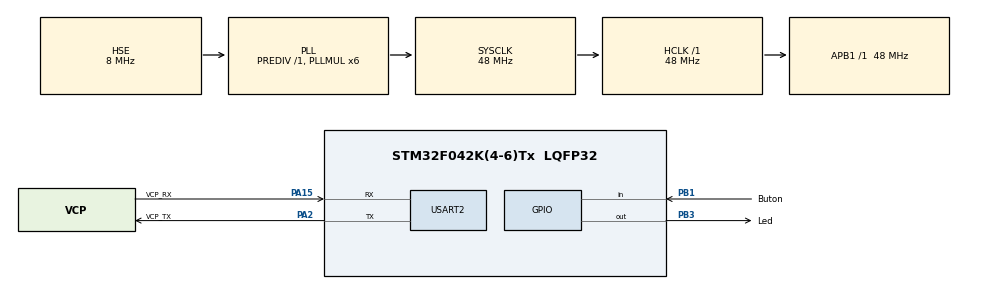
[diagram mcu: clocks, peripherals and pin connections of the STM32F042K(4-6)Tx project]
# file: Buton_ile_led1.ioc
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Mcu.Family=STM32F0
Mcu.Name=STM32F042K(4-6)Tx
Mcu.Package=LQFP32
PA13.GPIO_Label=SWDIO
PA13.Mode=Serial_Wire
PA13.Signal=SYS_SWDIO
PA14.GPIO_Label=SWCLK
PA14.Mode=Serial_Wire
PA14.Signal=SYS_SWCLK
PA15.GPIO_Label=VCP_RX
PA15.Mode=Asynchronous
PA15.Signal=USART2_RX
PA2.GPIO_Label=VCP_TX
PA2.Mode=Asynchronous
PA2.Signal=USART2_TX
PB1.GPIO_Label=Buton
PB1.GPIO_PuPd=GPIO_PULLDOWN
PB1.Signal=GPIO_Input
PB3.GPIO_Label=Led
PB3.Signal=GPIO_Output
PF0-OSC_IN.GPIO_Label=MCO
PF0-OSC_IN.Mode=HSE-External-Oscillator
PF0-OSC_IN.Signal=RCC_OSC_IN
PF1-OSC_OUT.Mode=HSE-External-Oscillator
PF1-OSC_OUT.Signal=RCC_OSC_OUT
ProjectManager.HeapSize=0x200
ProjectManager.StackSize=0x400
ProjectManager.TargetToolchain=STM32CubeIDE
RCC.AHBFreq_Value=48000000
RCC.APB1Freq_Value=48000000
RCC.APB1TimFreq_Value=48000000
RCC.HCLKFreq_Value=48000000
RCC.PLLMUL=RCC_PLL_MUL6
RCC.PLLSourceVirtual=RCC_PLLSOURCE_HSE
RCC.SYSCLKFreq_VALUE=48000000
RCC.SYSCLKSource=RCC_SYSCLKSOURCE_PLLCLK
USART2.VirtualMode-Asynchronous=VM_ASYNC
board=NUCLEO-F042K6

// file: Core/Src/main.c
/* USER CODE BEGIN Header */
/**
  ******************************************************************************
  * @file           : main.c
  * @brief          : Main program body
  ******************************************************************************
  * @attention
  *
  * Copyright (c) 2022 STMicroelectronics.
  * All rights reserved.
  *
  * This software is licensed under terms that can be found in the LICENSE file
  * in the root directory of this software component.
  * If no LICENSE file comes with this software, it is provided AS-IS.
  *
  ******************************************************************************
  */
/* USER CODE END Header */
#include "main.h"
#include <string.h>

 UART_HandleTypeDef huart2;

void SystemClock_Config(void);
static void MX_GPIO_Init(void);
static void MX_USART2_UART_Init(void);
/* USER CODE BEGIN PFP */
typedef enum{
	close,
	open
}state_t;

typedef struct{
	char buton_PortAdi[20];
	char buton_PinAdi[20];
	state_t buton_durumu;
	state_t led_durumu;
}buton;
buton buton1;
/* USER CODE END PFP */

int main(void)
{

  /* MCU Configuration--------------------------------------------------------*/

  /* Reset of all peripherals, Initializes the Flash interface and the Systick. */
  HAL_Init();

  /* Configure the system clock */
  SystemClock_Config();

  /* Initialize all configured peripherals */
  MX_GPIO_Init();
  MX_USART2_UART_Init();
  /* USER CODE BEGIN 2 */
  strcpy(buton1.buton_PinAdi,"GPIO_PIN_1");
  strcpy(buton1.buton_PortAdi,"GPIOB");
  /* USER CODE END 2 */

  /* Infinite loop */
  /* USER CODE BEGIN WHILE */
  while (1)
  {
	  if(HAL_GPIO_ReadPin(Led_GPIO_Port, Led_Pin))
	  {
		  buton1.led_durumu = open;
	  }
	  else
	  {
		  buton1.led_durumu = close;
	  }

	  if(HAL_GPIO_ReadPin(Buton_GPIO_Port, Buton_Pin))
	  {
		  buton1.buton_durumu = open;
	  }
	  else
	  {
		  buton1.buton_durumu = close;
	  }

	  if(HAL_GPIO_ReadPin(Buton_GPIO_Port, Buton_Pin))
	  {
		  HAL_Delay(15);
		  if(HAL_GPIO_ReadPin(Buton_GPIO_Port, Buton_Pin) == 0)
		  {
			  HAL_GPIO_TogglePin(Led_GPIO_Port, Led_Pin);
			  HAL_Delay(300);
		  }
	  }
    /* USER CODE END WHILE */

  }
}

void SystemClock_Config(void)
{
  RCC_OscInitTypeDef RCC_OscInitStruct = {0};
  RCC_ClkInitTypeDef RCC_ClkInitStruct = {0};

  /** Initializes the RCC Oscillators according to the specified parameters
  * in the RCC_OscInitTypeDef structure.
  */
  RCC_OscInitStruct.OscillatorType = RCC_OSCILLATORTYPE_HSE;
  RCC_OscInitStruct.HSEState = RCC_HSE_ON;
  RCC_OscInitStruct.PLL.PLLState = RCC_PLL_ON;
  RCC_OscInitStruct.PLL.PLLSource = RCC_PLLSOURCE_HSE;
  RCC_OscInitStruct.PLL.PLLMUL = RCC_PLL_MUL6;
  RCC_OscInitStruct.PLL.PREDIV = RCC_PREDIV_DIV1;
  if (HAL_RCC_OscConfig(&RCC_OscInitStruct) != HAL_OK)
  {
    Error_Handler();
  }

  /** Initializes the CPU, AHB and APB buses clocks
  */
  RCC_ClkInitStruct.ClockType = RCC_CLOCKTYPE_HCLK|RCC_CLOCKTYPE_SYSCLK
                              |RCC_CLOCKTYPE_PCLK1;
  RCC_ClkInitStruct.SYSCLKSource = RCC_SYSCLKSOURCE_PLLCLK;
  RCC_ClkInitStruct.AHBCLKDivider = RCC_SYSCLK_DIV1;
  RCC_ClkInitStruct.APB1CLKDivider = RCC_HCLK_DIV1;

  if (HAL_RCC_ClockConfig(&RCC_ClkInitStruct, FLASH_LATENCY_1) != HAL_OK)
  {
    Error_Handler();
  }
}

static void MX_USART2_UART_Init(void)
{

  huart2.Instance = USART2;
  huart2.Init.BaudRate = 38400;
  huart2.Init.WordLength = UART_WORDLENGTH_8B;
  huart2.Init.StopBits = UART_STOPBITS_1;
  huart2.Init.Parity = UART_PARITY_NONE;
  huart2.Init.Mode = UART_MODE_TX_RX;
  huart2.Init.HwFlowCtl = UART_HWCONTROL_NONE;
  huart2.Init.OverSampling = UART_OVERSAMPLING_16;
  huart2.Init.OneBitSampling = UART_ONE_BIT_SAMPLE_DISABLE;
  huart2.AdvancedInit.AdvFeatureInit = UART_ADVFEATURE_NO_INIT;
  if (HAL_UART_Init(&huart2) != HAL_OK)
  {
    Error_Handler();
  }

}

static void MX_GPIO_Init(void)
{
  GPIO_InitTypeDef GPIO_InitStruct = {0};

  /* GPIO Ports Clock Enable */
  __HAL_RCC_GPIOF_CLK_ENABLE();
  __HAL_RCC_GPIOA_CLK_ENABLE();
  __HAL_RCC_GPIOB_CLK_ENABLE();

  /*Configure GPIO pin Output Level */
  HAL_GPIO_WritePin(Led_GPIO_Port, Led_Pin, GPIO_PIN_RESET);

  /*Configure GPIO pin : Buton_Pin */
  GPIO_InitStruct.Pin = Buton_Pin;
  GPIO_InitStruct.Mode = GPIO_MODE_INPUT;
  GPIO_InitStruct.Pull = GPIO_PULLDOWN;
  HAL_GPIO_Init(Buton_GPIO_Port, &GPIO_InitStruct);

  /*Configure GPIO pin : Led_Pin */
  GPIO_InitStruct.Pin = Led_Pin;
  GPIO_InitStruct.Mode = GPIO_MODE_OUTPUT_PP;
  GPIO_InitStruct.Pull = GPIO_NOPULL;
  GPIO_InitStruct.Speed = GPIO_SPEED_FREQ_LOW;
  HAL_GPIO_Init(Led_GPIO_Port, &GPIO_InitStruct);

}

void Error_Handler(void)
{
  __disable_irq();
  while (1)
  {
  }
}
